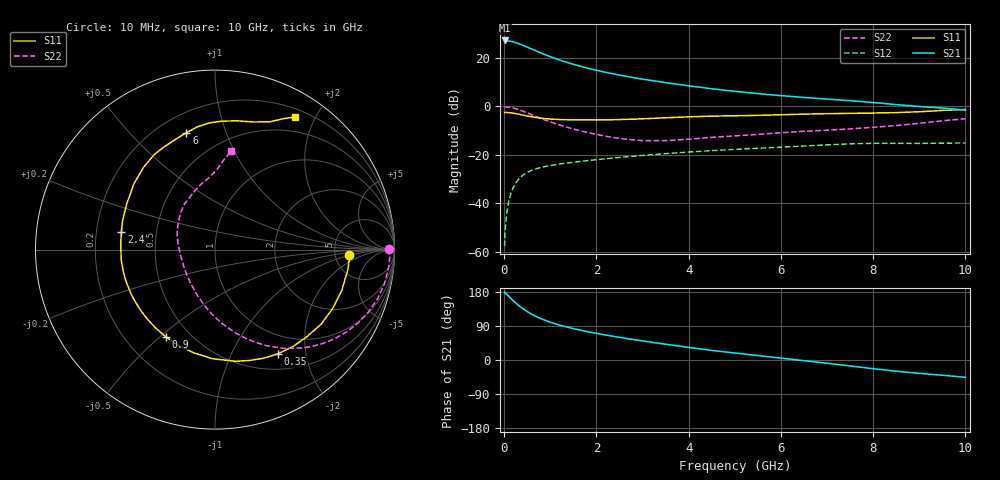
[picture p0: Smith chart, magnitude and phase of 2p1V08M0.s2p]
! (c) 2009  Infineon Technologies AG, Munich
! Infineon Technologies  Discrete & RF Semiconductors
! BFP420
! VCE =  1.0 V,  IC =  8.0 mA
! Common Emitter S-Parameters:  Nov 2009
# GHz  S  MA  R  50
!  f  S11  S21  S12  S22
! GHz  MAG  ANG  MAG  ANG  MAG  ANG  MAG  ANG
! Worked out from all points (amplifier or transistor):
!   46 points, 10 MHz to 10 GHz, reference 50 ohm
!   highest |S21| = 27.2 dB at 10 MHz (marker M1)
!   |S21| within 3 dB of that: start of sweep to 532 MHz
!   unconditionally stable (mu >= 1): 2.493 GHz to end of sweep
!   at 300 MHz: K = 0.16, MSG = 28.2 dB, |S12| = -30.4 dB
!   at 1.7 GHz: K = 0.77, MSG = 19.5 dB, |S12| = -22.6 dB
!   at 10 GHz: K = 1.09, MAG = 5.0 dB, |S12| = -15.1 dB
!   lowest NFmin = 0.79 dB at 900 MHz
!   S11 on the Smith chart (normalised r, x): 10 MHz: 6.82, -0.93; 350 MHz: 0.71, -1.53; 900 MHz: 0.37, -0.52; 2.4 GHz: 0.31, +0.08; 6 GHz: 0.31, +0.74; 10 GHz: 0.30, +1.73
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0.01  0.7484 -2.3  22.94 179.3  0.0013 102.0  0.9676 0.3
0.02  0.7504 -3.6  22.45 177.8  0.0025 89.5  0.9749 -2.1
0.1  0.7422 -17.8  22.37 167.9  0.0111 81.3  0.9636 -11.3
0.2  0.7227 -35.1  21.39 156.3  0.0214 73.2  0.9231 -22.1
0.3  0.6931 -51.3  19.96 145.5  0.0302 65.9  0.8649 -32.0
0.35  0.6782 -58.9  19.17 140.8  0.034 62.6  0.8322 -36.6
0.45  0.6467 -72.8  17.55 131.9  0.0405 57.0  0.7651 -44.8
0.6  0.6084 -91.2  15.23 120.7  0.0479 50.4  0.6692 -55.3
0.7  0.587 -101.8  13.86 114.5  0.0518 47.2  0.6124 -61.3
0.9  0.5577 -119.6  11.55 104.1  0.0577 42.4  0.5176 -71.5
1  0.5477 -127.3  10.62 99.7  0.0602 40.7  0.4782 -76.1
1.2  0.535 -140.6  9.073 92.2  0.0645 38.0  0.4131 -84.6
1.4  0.5291 -151.7  7.876 85.8  0.0683 36.2  0.3628 -92.2
1.7  0.5251 -165.6  6.544 77.6  0.0739 34.1  0.3054 -103.0
2.4  0.5303 169.5  4.614 61.8  0.0865 30.3  0.2253 -128.9
3.5  0.5816 141.0  3.085 41.6  0.1056 23.9  0.1959 -173.6
4.5  0.6282 122.7  2.314 25.3  0.1219 17.0  0.2295 157.1
5.5  0.6519 109.9  1.832 11.7  0.1364 10.5  0.264 139.1
6  0.6709 103.7  1.667 5.1  0.1439 7.1  0.2856 131.2
7  0.7067 92.5  1.413 -8.6  0.1604 -1.0  0.3217 116.5
8.5  0.7432 73.0  1.088 -29.6  0.1727 -16.4  0.4011 95.0
10  0.8623 58.9  0.837 -45.6  0.1754 -26.2  0.5544 80.7
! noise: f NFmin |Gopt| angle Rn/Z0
0.9  0.79  0.08  30  0.13
1.8  1.14  0.06  171  0.12
2.4  1.24  0.1  160  0.13
3  1.32  0.17  -165  0.12
4  1.46  0.32  -132  0.14
5  1.85  0.39  -110  0.25
6  2.3  0.46  -95  0.37
